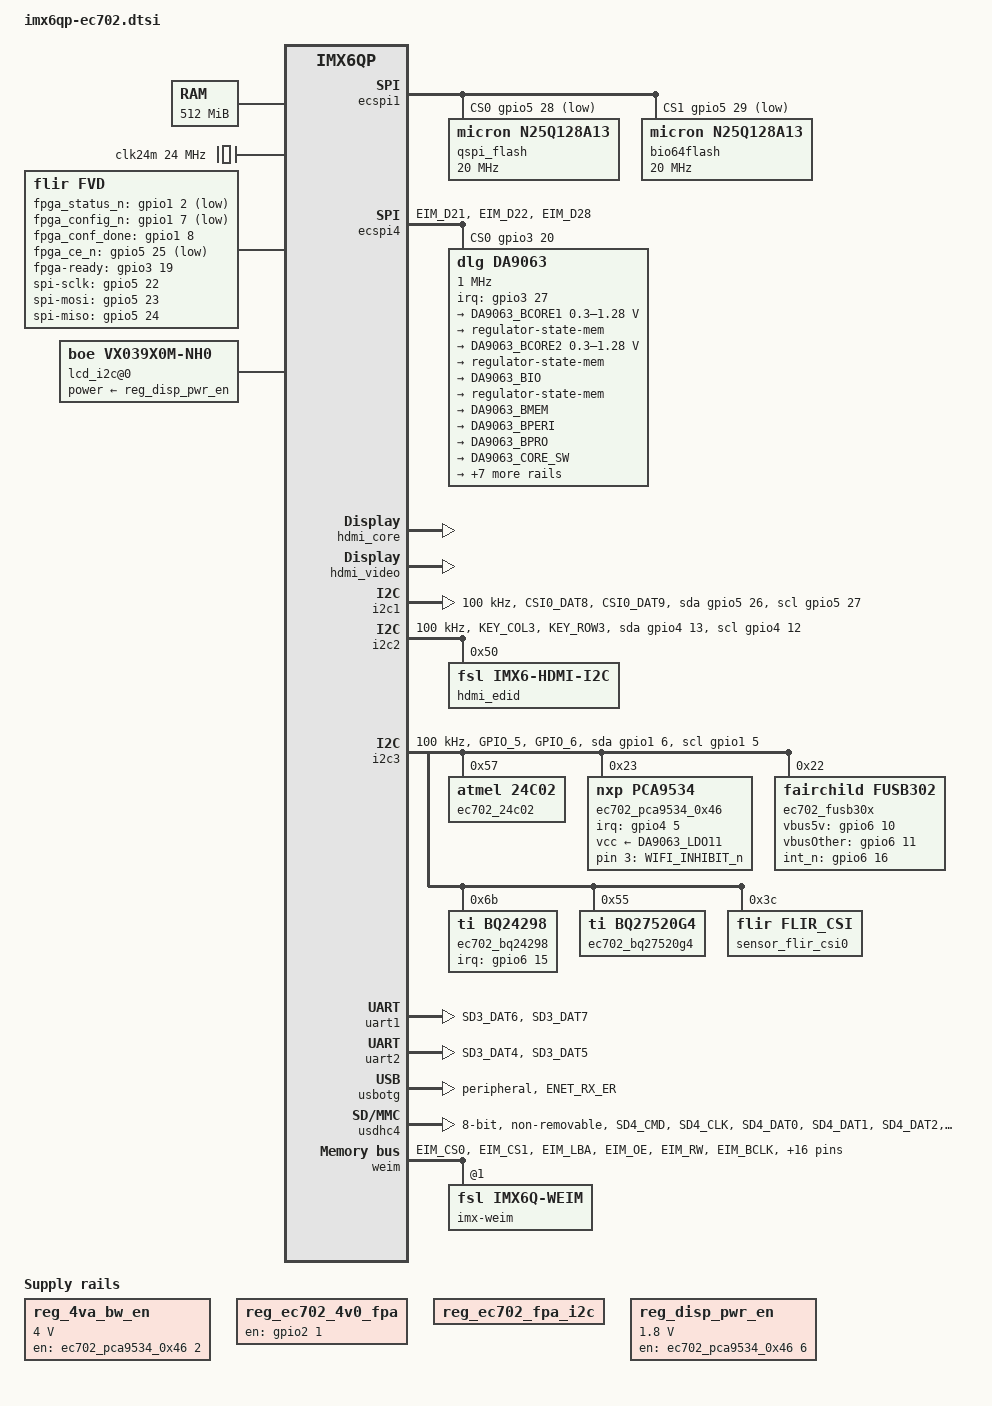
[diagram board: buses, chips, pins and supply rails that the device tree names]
/*
 * Copyright 2024 FLIR Systems.
 *
 * The code contained herein is licensed under the GNU General Public
 * License. You may obtain a copy of the GNU General Public License
 * Version 2 or later at the following locations:
 *
 * http://www.opensource.org/licenses/gpl-license.html
 * http://www.gnu.org/copyleft/gpl.html
 */

#include <dt-bindings/gpio/gpio.h>
#include <dt-bindings/input/input.h>
#include <dt-bindings/interrupt-controller/irq.h>
#include <dt-bindings/regulator/dlg,da9063-regulator.h>
#include "imx6q-pinfunc.h"

/ {
	aliases {
		mxcfb0 = &mxcfb1;
		mxcfb1 = &mxcfb2;

		mmc0 = &usdhc4;
		mmc1 = &usdhc1;
		mmc2 = &usdhc2;
		mmc3 = &usdhc3;
	};

	memory {
		reg = <0x10000000 0x20000000>;
	};

	clocks {
		clk24m: clk24m {
			compatible = "fixed-clock";
			#clock-cells = <0>;
			clock-frequency = <24000000>;
		};
	};

	// Board Info: Filled in by UBoot
	boards {
		mainboard {
			article = <0>;
			rev = <0>;
		};
		plwi {
			article = <0>;
			rev = <0>;
		};
	};

	fad {
		compatible = "flir,fad";
		hasLaser = <0>;
		HasSoftwareControlledLaser = <0>;
		hasGPS = <1>;
		standbyMinutes = <1440>;
	};

	/* Radio switch */
	radio_switch {
		compatible = "gpio-keys";
		radio_on {
			label = "WIFI_INHIBIT_n";
			gpios = <&ec702_pca9534_0x46 3 GPIO_ACTIVE_HIGH>;
			linux,input-type = <EV_SW>;
			linux,code = <SW_RFKILL_ALL>;
		};
	};

	fvd {
		compatible = "flir,fvd";
		pinctrl-names = "default", "spi-default", "spi-idle";
		pinctrl-0 = <&pinctrl_fvd>;
		pinctrl-1 = <&pinctrl_ecspi1>;
		pinctrl-2 = <&pinctrl_ecspi1_idle>;

		fpga_status_n = <&gpio1 2 GPIO_ACTIVE_LOW>;
		fpga_config_n = <&gpio1 7 GPIO_ACTIVE_LOW>;
		fpga_conf_done = <&gpio1 8 GPIO_ACTIVE_HIGH>;
		fpga_ce_n = <&gpio5 25 GPIO_ACTIVE_LOW>;
		fpga-ready-gpio = <&gpio3 19 GPIO_ACTIVE_HIGH>;

		spi-sclk-gpio = <&gpio5 22 GPIO_ACTIVE_HIGH>;
		spi-mosi-gpio = <&gpio5 23 GPIO_ACTIVE_HIGH>;
		spi-miso-gpio = <&gpio5 24 GPIO_ACTIVE_HIGH>;
		spi-cs-gpio = <&gpio5 28 GPIO_ACTIVE_LOW>;

		// The fvdk driver needs to find the SPI device
		// via this phandle to prepare flash during FPGA programming
		spi_fpga_flash = <&qspi_flash>;
		vin-supply = <&DA9063_BMEM>, <&DA9063_BPRO>, <&DA9063_PERI_SW>, <&DA9063_CORE_SW>, <&DA9063_LDO8>;
	};

	regulators {
		compatible = "simple-bus";

		reg_4va_bw_en: reg_4va_bw_en {
			compatible = "regulator-fixed";
			regulator-name = "4VA_BW";
			regulator-min-microvolt = <4000000>;
			regulator-max-microvolt = <4000000>;
			gpio = <&ec702_pca9534_0x46 2 GPIO_ACTIVE_HIGH>;
			regulator-boot-on;
			startup-delay-us = <10000>;
			enable-active-high;
		};

		reg_ec702_4v0_fpa: ec702_4v0_fpa {
			compatible = "regulator-fixed";
			regulator-name = "4V0_fpa";
			gpio = <&gpio2 1 0>;
			enable-active-high;
		};

		/* Required by fvdk driver */
		reg_ec702_fpa_i2c: ec702_fpa_i2c {
			compatible = "regulator-fixed";
			regulator-name = "fpa_i2c";
			enable-active-high;
		};

		/* DISP_PWR_EN */
		reg_disp_pwr_en: reg_disp_pwr_en {
			compatible = "regulator-fixed";
			regulator-name = "1V8D_VF";
			regulator-min-microvolt = <1800000>;
			regulator-max-microvolt = <1800000>;
			gpio = <&ec702_pca9534_0x46 6 GPIO_ACTIVE_HIGH>;
			regulator-boot-on;
			enable-active-high;
		};

	};

	/* Use HDMI port as primary display for now.
	 * Bring back VF display as first fb once it becomes available.
	 */

	mxcfb1: fb@0 {
		compatible = "fsl,mxc_sdc_fb";
		interface_pix_fmt = "RGB24";
		default_bpp = <32>;
		int_clk = <0>;
		late_init = <0>;
		disp_dev = "lcd-i2c";
		mode_str ="BOE-XGA";
		backlight_lcd = <&backlight_lcd>;
		bootlogo = <0x0 0x0>;
		status = "okay";
	};

	mxcfb2: fb@1 {
		compatible = "fsl,mxc_sdc_fb";
		disp_dev = "hdmi";
		interface_pix_fmt = "RGB24";
		mode_str ="1024x768M@60";
		default_bpp = <32>;
		int_clk = <1>;
		late_init = <0>;
		status = "disabled";
	};

	backlight_lcd: backlight_lcd {
		compatible = "dummy-backlight";
		status = "okay";
	};

	v4l2_cap_0 {
		compatible = "fsl,imx6q-v4l2-capture";
		ipu_id = <0>;
		csi_id = <0>;
		videoflow_method = <1>;
		mclk_source = <0>;
		status = "okay";
	};

	v4l2_out {
		compatible = "fsl,mxc_v4l2_output";
		status = "okay";
	};

	// UBoot Info: Filled in by UBoot
	u-boot {
		version = "Unknown";
		reset-cause = "Unknown";
	};

	lcd_i2c@0 {
		compatible = "boe,vx039x0m-nh0";
		ipu_id = <0>;
		disp_id = <0>;
		default_ifmt = "RGB24";
		pinctrl-names = "default", "disabled";
		pinctrl-0 = <&pinctrl_ipu1_di0_enabled>;
		pinctrl-1 = <&pinctrl_ipu1_di0_disabled>;
		i2c_bus = <0x00>;
		i2c_addr = <0x4c>;
		power-supply = <&reg_disp_pwr_en>;
		status = "okay";
	};
};

&ecspi1 {
	// The fvdk driver sets this pinctrl when not
	// programming fpga, thus commented out here
	// pinctrl-names = "default";
	// pinctrl-0 = <&pinctrl_ecspi1>;
	fsl,spi-num-chipselects = <2>;
	cs-gpios = <&gpio5 28 GPIO_ACTIVE_LOW>, <&gpio5 29 GPIO_ACTIVE_LOW>;
	status = "okay";

	qspi_flash: mt25ql128aba@0 {
		compatible = "micron,n25q128a13", "jedec,spi-nor";
		spi-max-frequency = <20000000>;
		reg = <0>;
	};

	/* Detector flash */
	bio64flash: bio64flash@1 {
		compatible = "micron,n25q128a13", "micron,n25q256a", "jedec,spi-nor";
		spi-max-frequency = <20000000>;
		reg = <1>;
	};
};

&ecspi4 {
	pinctrl-names = "default";
	pinctrl-0 = <&pinctrl_ecspi4>;
	fsl,spi-num-chipselects = <1>;
	cs-gpios = <&gpio3 20 0>;
	status = "okay";

	da9063: da9063@0 {
		compatible = "dlg,da9063";
		reg = <0>;
		spi-max-frequency = <1000000>;
		interrupt-parent = <&gpio3>;
		interrupts = <27 2>;
		interrupt-controller;
		#interrupt-cells = <1>;
		pinctrl-names = "default";
		pinctrl-0 = <&pinctrl_da9063>;

		poweroff {
			compatible = "dlg,da9063-poweroff";
			/* Optional gpio-based shutdown used by EOCO*/
			pwroff-gpio = <&gpio2 30 GPIO_ACTIVE_HIGH>;
		};

		rtc {
			compatible = "dlg,da9063-rtc";
			interrupts = <1 2>;
			interrupts-names = "ALARM" , "TIMER";
			interrupt-parent = <&da9063>;
		};

		onkey {
			compatible = "dlg,da9063-onkey";
			interrupts = <0>;
			interrupts-names = "ONKEY";
			interrupt-parent = <&da9063>;
			dlg,key-power;
			gpio-key,wakeup;
			linux,code = <66>;
		};

		hwmon {
			compatible = "dlg,da9063-hwmon";
			interrupts = <3>;
			interrupts-names = "HWMON";
			interrupt-parent = <&da9063>;
			dlg,tjunc-offset = <(-5)>;
		};

		gpio_extender: gpio {
			compatible = "dlg,da9063-gpio";
			gpio-controller;
			#gpio-cells = <2>;
		};

		watchdog {
			compatible = "dlg,da9063-watchdog";
			timeout-sec = <30>;
		};

		charge_wake: charge_wake {
			compatible = "dlg,da9063-wake";
		};

		reset{
			compatible = "dlg,da9063-reset";
		};

		/*
		 * Regulator                Signal      Voltage     Enabled
		 * -------------------------------------------------------------
		 * DA9063_BCORE1:bcore1     VCCARM      1V38        Yes, seq 3
		 * DA9063_BCORE2:bcore2     VCCSOC      1V38        Yes, seq 3
		 * DA9063_BIO:bio           1V8D                    Yes, seq 5
		 * DA9063_BMEM:bmem         2V5D_FPGA               by uboot
		 * DA9063_BPERI:bperi       1V2D                    Yes, seq 4
		 * DA9063_BPRO:bpro         1V1D_FPGA               by uboot
		 * DA9063_CORE_SW:core_sw   1V8D_FPGA               by uboot
		 * DA9063_LDO2:ldo2         NC          1V2         No
		 * DA9063_LDO3_BP:ldo3      Test only   1V8         No
		 * DA9063_LDO4:ldo4         NC          3V15/1V8    Yes, seq 6, disabled in uboot
		 * DA9063_LDO6:ldo6         NC          2V5         No
		 * DA9063_LDO7:ldo7         3V15_GP                 No
		 * DA9063_LDO8:ldo8         3V15D_FPGA              by uboot
		 * DA9063_LDO9:ldo9         VCCSNVS     3V15        Yes, seq 1
		 * DA9063_LDO10:ldo10       NC          2V5D_FPGA   No
		 * DA9063_LDO11:ldo11       3V15D                   Yes, seq 6
		 * DA9063_PERI_SW:peri_sw   1V2D_FPGA               by uboot
		 */

		/* For DA9063 revision AD */
		regulators {
			compatible = "dlg,da9063-regulator";
			interrupts = <8>;
			interrupts-names = "LDO_LIM";
			interrupt-parent = <&da9063>;

			/* VCCARM */
			DA9063_BCORE1:bcore1  {
				regulator-name = "DA9063_BCORE1";
				regulator-boot-on;
				regulator-always-on;
				regulator-min-microvolt = <300000>;
				regulator-max-microvolt = <1280000>;

				/*regulator-initial-mode = <1>;*/
				regulator-initial-mode = <DA9063_BUCK_MODE_SYNC>;
				/* regulator-initial-state = "suspend-mem"; */
				regulator-allowed-modes = <DA9063_BUCK_MODE_SLEEP>, <DA9063_BUCK_MODE_SYNC>;
				regulator-state-mem {
					regulator-mode = <DA9063_BUCK_MODE_SLEEP>;
					regulator-suspend-uv= <950000>;
					regulator-off-in-suspend;
				};
			};

			/* VCCSOC */
			DA9063_BCORE2:bcore2  {
				regulator-name = "DA9063_BCORE2";
				regulator-boot-on;
				regulator-always-on;
				regulator-min-microvolt = <300000>;
				regulator-max-microvolt = <1280000>;

				regulator-initial-mode = <DA9063_BUCK_MODE_SYNC>;
				/* regulator-initial-state = "suspend-mem"; */
				regulator-allowed-modes = <DA9063_BUCK_MODE_SLEEP>, <DA9063_BUCK_MODE_SYNC>;
				regulator-state-mem {
					regulator-mode = <DA9063_BUCK_MODE_SLEEP>;
					regulator-suspend-uv= <950000>;
					regulator-off-in-suspend;
				};
			};

			/* 1V8D */
			DA9063_BIO:bio  {
				regulator-initial-mode = <DA9063_BUCK_MODE_SYNC>;
				regulator-name = "DA9063_BIO";
				regulator-boot-on;
				regulator-always-on;
				regulator-allowed-modes = <DA9063_BUCK_MODE_SLEEP>, <DA9063_BUCK_MODE_SYNC>;
				regulator-state-mem {
					regulator-mode = <DA9063_BUCK_MODE_SLEEP>;
					regulator-off-in-suspend;
				};
			};

			/* 2V5D_FPGA */
			DA9063_BMEM:bmem  {
				regulator-initial-mode = <DA9063_BUCK_MODE_SYNC>;
				regulator-name = "DA9063_BMEM";
				regulator-boot-on;
				regulator-allowed-modes = <DA9063_BUCK_MODE_SLEEP>, <DA9063_BUCK_MODE_SYNC>;
				/* Suspend handled by FVDK */
			};

			/* 1V2D */
			DA9063_BPERI:bperi  {
				regulator-initial-mode = <DA9063_BUCK_MODE_SYNC>;
				regulator-name = "DA9063_BPERI";
				regulator-boot-on;
				regulator-always-on;
				regulator-allowed-modes = <DA9063_BUCK_MODE_SLEEP>, <DA9063_BUCK_MODE_SYNC>;
			};

			/* 1V1D_FPGA */
			DA9063_BPRO:bpro  {
				regulator-initial-mode = <DA9063_BUCK_MODE_SYNC>;
				regulator-name = "DA9063_BPRO";
				regulator-boot-on;
				regulator-allowed-modes = <DA9063_BUCK_MODE_SLEEP>, <DA9063_BUCK_MODE_SYNC>;
				/* Suspend handled by FVDK */
			};

			/* 1V8D_FPGA */
			DA9063_CORE_SW:core-sw  {
				regulator-name = "DA9063_CORE_SW";
				regulator-boot-on;
				/* Suspend handled by FVDK */
			};

			/* LDO3: 1V8 test point */
			DA9063_LDO3_BP:ldo3  {
				regulator-name = "DA9063_LDO3_BP";
				regulator-state-mem {
					regulator-off-in-suspend;
				};
			};

			/* 3V15_GP */
			DA9063_LDO7:ldo7  {
				regulator-name = "DA9063_LDO7";
			};

			/* 3V15D_FPGA */
			DA9063_LDO8:ldo8  {
				regulator-name = "DA9063_LDO8";
				regulator-boot-on;
			};

			/* VCCSNVS */
			DA9063_LDO9:ldo9  {
				regulator-name = "DA9063_LDO9";
				regulator-boot-on;
				regulator-always-on;
			};

			/* 3V15D */
			DA9063_LDO11:ldo11  {
				regulator-name = "DA9063_LDO11";
				regulator-boot-on;
				regulator-always-on;
			};

			/* 1V2D_FPGA */
			DA9063_PERI_SW:peri-sw  {
				regulator-name = "DA9063_PERI_SW";
				regulator-boot-on;
				/* Suspend handled by FVDK */
			};

			DA9063_32K_OUT:out_32k  {
				regulator-name = "DA9063_32K_OUT";
			};
		};
	};
};

&wdog1 {
	/* Disable internal watchdog in favor of da9063-wdt */
	status = "disable";
};

&hdmi_core {
	ipu_id = <0>;
	disp_id = <1>;
	status = "okay";
};

&hdmi_video {
	// phy_reg_vlev and _cksymtx are optional
	//fsl,phy_reg_vlev = <0x294>;
	//fsl,phy_reg_cksymtx = <0x800d>;
	//HDMI-supply = <&reg_hdmi>;
	status = "okay";
};

&i2c1 {
	clock-frequency = <100000>;
	pinctrl-names = "default", "gpio";
	pinctrl-0 = <&pinctrl_i2c1>;
	pinctrl-1 = <&pinctrl_i2c1_gpio>;
	scl-gpios = <&gpio5 27 GPIO_ACTIVE_HIGH>;
	sda-gpios = <&gpio5 26 GPIO_ACTIVE_HIGH>;
	status = "okay";
};

&i2c2 {
	clock-frequency = <100000>;
	pinctrl-names = "default", "gpio";
	pinctrl-0 = <&pinctrl_i2c2>;
	pinctrl-1 = <&pinctrl_i2c2_gpio>;
	scl-gpios = <&gpio4 12 GPIO_ACTIVE_HIGH>;
	sda-gpios = <&gpio4 13 GPIO_ACTIVE_HIGH>;
	status = "okay";

	hdmi_edid: edid@50 {
		compatible = "fsl,imx6-hdmi-i2c";
		reg = <0x50>;
	};
};

&i2c3 {
	clock-frequency = <100000>;
	pinctrl-names = "default", "gpio";
	pinctrl-0 = <&pinctrl_i2c3>;
	pinctrl-1 = <&pinctrl_i2c3_gpio>;
	scl-gpios = <&gpio1 5 GPIO_ACTIVE_HIGH>;
	sda-gpios = <&gpio1 6 GPIO_ACTIVE_HIGH>;
	status = "okay";

	/* ID EEPROM */
	ec702_24c02: ec702_24c02_0xae@57 {
		compatible = "atmel,24c02";
		reg = <0x57>;
		pagesize = <16>;
	};

	/* Power ctrl I/O expander */
	ec702_pca9534_0x46: ec702_pca9534_0x46@23 {
		compatible = "nxp,pca9534";
		reg = <0x23>;
		gpio-controller;
		vcc-supply = <&DA9063_LDO11>;
		/* Int: I2C3_ALERT_n, GPIO4.5 */
		interrupt-parent = <&gpio4>;
		interrupts = <5 IRQ_TYPE_EDGE_FALLING>;
		interrupt-controller;
		interrupts-shared;
		#interrupt-cells = <2>;
		#gpio-cells = <2>;
		status = "okay";
	};

	ec702_acc_kxtj3: ec702_acc_kxtj3_0x1c@e {
		compatible = "kionix,kxtj3";
		reg = <0x0e>;
		// TODO Remap axes for appcore
		axis-map-x = <2>;
		axis-map-y = <1>;
		axis-map-z = <0>;
		negate-x;
		is-sensor-accel;
		status = "disabled";
	};

	/* Power delivery controller */
	ec702_fusb30x: ec702_fusb30x_0x44@22 {
		compatible = "fairchild,fusb302";
		reg = <0x22>;
		status = "okay";
		fairchild,vbus5v	= <&gpio6 10 0>;  //FIXME: Unused IO pin
		fairchild,vbusOther	= <&gpio6 11 0>;  //FIXME: Unused IO pin
		fairchild,int_n         = <&gpio6 16 0>;
		//usbmux-gpio-pol         = <&ec702_pca9534_0x46 2 GPIO_ACTIVE_HIGH>;
		//usbmux-gpio-amsel       = <&ec702_pca9534_0x46 3 GPIO_ACTIVE_HIGH>;
		//usbmux-gpio-en          = <&ec702_pca9534_0x46 4 GPIO_ACTIVE_HIGH>;
	};

	/* Battery charger */
	ec702_bq24298: ec702_bq24298_0xd6@6b {
		compatible = "ti,bq24298";
		reg = <0x6b>;
		interrupt-parent = <&gpio6>;
		interrupts = <15 2>;
                //ti,usb-charger-detection = <&usbotg>;
		status = "okay";
	};

	/* Battery fuel gauge */
	ec702_bq27520g4: ec702_bq27520g4_0xaa@55 {
		compatible = "ti,bq27520g4";
		reg = <0x55>;
	};

	/* ID EEPROM on detector board */
	bio64_24c02: bio64_24c02_0xa0@50 {
		compatible = "atmel,24c02";
		reg = <0x50>;
		pagesize = <16>;
		status = "disabled";
	};

	/* FPGA CSI0 */
	sensor_flir_csi0: csi0@3c {
		compatible = "flir,flir_csi";
		reg = <0x3c>;
		pinctrl-names = "default";
		pinctrl-0 = <&pinctrl_ipu1_csi0>;
		clocks = <&clks 201>;
		clock-names = "csi_mclk";
		ipu_id = <0>;
		csi_id = <0>;
		mclk = <24000000>;
		mclk_source = <0>;
		capturemode = <0>;
		format = "RGB4";
		status = "okay";
	};
};

&iomuxc {
	pinctrl_da9063: da9063grp {
		fsl,pins = <
			MX6QDL_PAD_EIM_D27__GPIO3_IO27 0x1b0b0
		>;
	};

	pinctrl_ecspi1: ecspi1grp {
		fsl,pins = <
			MX6QDL_PAD_CSI0_DAT4__ECSPI1_SCLK 0x100b1
			MX6QDL_PAD_CSI0_DAT5__ECSPI1_MOSI 0x100b1
			MX6QDL_PAD_CSI0_DAT6__ECSPI1_MISO 0x100b1
		>;
	};

	pinctrl_ecspi1_idle: ecspi1grp-idle {
		fsl,pins = <
			MX6QDL_PAD_CSI0_DAT4__GPIO5_IO22	0x100b1
			MX6QDL_PAD_CSI0_DAT5__GPIO5_IO23	0x100b1
			MX6QDL_PAD_CSI0_DAT6__GPIO5_IO24	0x100b1
		>;
	};

	pinctrl_ecspi4: ecspi4grp {
		fsl,pins = <
			MX6QDL_PAD_EIM_D21__ECSPI4_SCLK 0x100b1
			MX6QDL_PAD_EIM_D22__ECSPI4_MISO 0x100b1
			MX6QDL_PAD_EIM_D28__ECSPI4_MOSI 0x100b1
		>;
	};

	pinctrl_fvd: fvdgrp {
		fsl,pins = <
			MX6QDL_PAD_EIM_D16__GPIO3_IO16	0x10010
			MX6QDL_PAD_EIM_D17__GPIO3_IO17	0x10010
			MX6QDL_PAD_EIM_D18__GPIO3_IO18	0x10010
			MX6QDL_PAD_EIM_D19__GPIO3_IO19	0x10010
		>;
	};

	pinctrl_i2c1: i2c1grp {
		fsl,pins = <
			MX6QDL_PAD_CSI0_DAT8__I2C1_SDA  0x4001b8b1
			MX6QDL_PAD_CSI0_DAT9__I2C1_SCL  0x4001b8b1
		>;
	};

	pinctrl_i2c1_gpio: i2c1gpiogrp {
		fsl,pins = <
			MX6QDL_PAD_CSI0_DAT8__GPIO5_IO26 0x4001b8b1
			MX6QDL_PAD_CSI0_DAT9__GPIO5_IO27 0x4001b8b1
		>;
	};

	pinctrl_i2c2: i2c2grp {
		fsl,pins = <
			MX6QDL_PAD_KEY_COL3__I2C2_SCL  0x4001b8b1
			MX6QDL_PAD_KEY_ROW3__I2C2_SDA  0x4001b8b1
		>;
	};

	pinctrl_i2c2_gpio: i2c2gpiogrp {
		fsl,pins = <
			MX6QDL_PAD_KEY_COL3__GPIO4_IO12 0x4001b8b1
			MX6QDL_PAD_KEY_ROW3__GPIO4_IO13 0x4001b8b1
		>;
	};

	pinctrl_i2c3: i2c3grp {
		fsl,pins = <
			MX6QDL_PAD_GPIO_5__I2C3_SCL  0x4001b8b1
			MX6QDL_PAD_GPIO_6__I2C3_SDA  0x4001b8b1
		>;
	};

	pinctrl_i2c3_gpio: i2c3gpiogrp {
		fsl,pins = <
			MX6QDL_PAD_GPIO_5__GPIO1_IO05 0x4001b8b1
			MX6QDL_PAD_GPIO_6__GPIO1_IO06 0x4001b8b1
			MX6QDL_PAD_GPIO_19__GPIO4_IO05	0x00009030 // TODO
		>;
	};

	pinctrl_ipu1_csi0: ipu1csi0grp {
		fsl,pins = <
			MX6QDL_PAD_CSI0_DAT12__IPU1_CSI0_DATA12		0x80000000
			MX6QDL_PAD_CSI0_DAT13__IPU1_CSI0_DATA13		0x80000000
			MX6QDL_PAD_CSI0_DAT14__IPU1_CSI0_DATA14		0x80000000
			MX6QDL_PAD_CSI0_DAT15__IPU1_CSI0_DATA15		0x80000000
			MX6QDL_PAD_CSI0_DAT16__IPU1_CSI0_DATA16		0x80000000
			MX6QDL_PAD_CSI0_DAT17__IPU1_CSI0_DATA17		0x80000000
			MX6QDL_PAD_CSI0_DAT18__IPU1_CSI0_DATA18		0x80000000
			MX6QDL_PAD_CSI0_DAT19__IPU1_CSI0_DATA19		0x80000000
			MX6QDL_PAD_CSI0_PIXCLK__IPU1_CSI0_PIXCLK	0x0000a0b0
			MX6QDL_PAD_CSI0_MCLK__IPU1_CSI0_HSYNC		0x80000000
			MX6QDL_PAD_CSI0_VSYNC__IPU1_CSI0_VSYNC		0x80000000
			MX6QDL_PAD_CSI0_DATA_EN__IPU1_CSI0_DATA_EN	0x80000000
			>;
	};

	pinctrl_ipu1_di0_enabled: ipu1di0_enabled_grp {
		fsl,pins = <
			MX6QDL_PAD_DI0_DISP_CLK__IPU1_DI0_DISP_CLK	0xA8
			MX6QDL_PAD_DI0_PIN2__IPU1_DI0_PIN02		0xA8
			MX6QDL_PAD_DI0_PIN3__IPU1_DI0_PIN03		0xA8
			//MX6QDL_PAD_DI0_PIN4__IPU1_DI0_PIN04		0x80000000
			//MX6QDL_PAD_DI0_PIN15__IPU1_DI0_PIN15		0xA8
			MX6QDL_PAD_DISP0_DAT0__IPU1_DISP0_DATA00	0xA8
			MX6QDL_PAD_DISP0_DAT1__IPU1_DISP0_DATA01	0xA8
			MX6QDL_PAD_DISP0_DAT2__IPU1_DISP0_DATA02	0xA8
			MX6QDL_PAD_DISP0_DAT3__IPU1_DISP0_DATA03	0xA8
			MX6QDL_PAD_DISP0_DAT4__IPU1_DISP0_DATA04	0xA8
			MX6QDL_PAD_DISP0_DAT5__IPU1_DISP0_DATA05	0xA8
			MX6QDL_PAD_DISP0_DAT6__IPU1_DISP0_DATA06	0xA8
			MX6QDL_PAD_DISP0_DAT7__IPU1_DISP0_DATA07	0xA8
			MX6QDL_PAD_DISP0_DAT8__IPU1_DISP0_DATA08	0xA8
			MX6QDL_PAD_DISP0_DAT9__IPU1_DISP0_DATA09	0xA8
			MX6QDL_PAD_DISP0_DAT10__IPU1_DISP0_DATA10	0xA8
			MX6QDL_PAD_DISP0_DAT11__IPU1_DISP0_DATA11	0xA8
			MX6QDL_PAD_DISP0_DAT12__IPU1_DISP0_DATA12	0xA8
			MX6QDL_PAD_DISP0_DAT13__IPU1_DISP0_DATA13	0xA8
			MX6QDL_PAD_DISP0_DAT14__IPU1_DISP0_DATA14	0xA8
			MX6QDL_PAD_DISP0_DAT15__IPU1_DISP0_DATA15	0xA8
			MX6QDL_PAD_DISP0_DAT16__IPU1_DISP0_DATA16	0xA8
			MX6QDL_PAD_DISP0_DAT17__IPU1_DISP0_DATA17	0xA8
			MX6QDL_PAD_DISP0_DAT18__IPU1_DISP0_DATA18	0xA8
			MX6QDL_PAD_DISP0_DAT19__IPU1_DISP0_DATA19	0xA8
			MX6QDL_PAD_DISP0_DAT20__IPU1_DISP0_DATA20	0xA8
			MX6QDL_PAD_DISP0_DAT21__IPU1_DISP0_DATA21	0xA8
			MX6QDL_PAD_DISP0_DAT22__IPU1_DISP0_DATA22	0xA8
			MX6QDL_PAD_DISP0_DAT23__IPU1_DISP0_DATA23	0xA8
		>;
	};
	pinctrl_ipu1_di0_disabled: ipu1di0_disabled_grp {
		fsl,pins = <
		/*
		 * Reserved [15 bit]
		 * HYS [1 bit] = 0, Disabled, CMOS input
		 * PUS [2 bit] = 00, 100K PD
		 * PUE [1 bit] = 0, Keeper Enabled
		 * PKE [1 bit] 0, Disabled, Pull/Keeper disabled
		 * ODE [1 bit] = 0, Disabled, Output is CMOS
		 * Reserved [3 bit]
		 * Speed [2 bit] = 00 = Slow
		 * DSE [3 bit] = 000 = Hi Z
		 * Reserved [2 bit]
		 * SRE [1 bit] = 0 Slow Slew Rate
		 */
			MX6QDL_PAD_DI0_DISP_CLK__GPIO4_IO16	0x0
			MX6QDL_PAD_DI0_PIN2__GPIO4_IO18		0x0
			MX6QDL_PAD_DI0_PIN3__GPIO4_IO19		0x0
			MX6QDL_PAD_DISP0_DAT0__GPIO4_IO21	0x0
			MX6QDL_PAD_DISP0_DAT1__GPIO4_IO22	0x0
			MX6QDL_PAD_DISP0_DAT2__GPIO4_IO23	0x0
			MX6QDL_PAD_DISP0_DAT3__GPIO4_IO24	0x0
			MX6QDL_PAD_DISP0_DAT4__GPIO4_IO25	0x0
			MX6QDL_PAD_DISP0_DAT5__GPIO4_IO26	0x0
			MX6QDL_PAD_DISP0_DAT6__GPIO4_IO27	0x0
			MX6QDL_PAD_DISP0_DAT7__GPIO4_IO28	0x0
			MX6QDL_PAD_DISP0_DAT8__GPIO4_IO29	0x0
			MX6QDL_PAD_DISP0_DAT9__GPIO4_IO30	0x0
			MX6QDL_PAD_DISP0_DAT10__GPIO4_IO31	0x0
			MX6QDL_PAD_DISP0_DAT11__GPIO5_IO05	0x0
			MX6QDL_PAD_DISP0_DAT12__GPIO5_IO06	0x0
			MX6QDL_PAD_DISP0_DAT13__GPIO5_IO07	0x0
			MX6QDL_PAD_DISP0_DAT14__GPIO5_IO08	0x0
			MX6QDL_PAD_DISP0_DAT15__GPIO5_IO09	0x0
			MX6QDL_PAD_DISP0_DAT16__GPIO5_IO10	0x0
			MX6QDL_PAD_DISP0_DAT17__GPIO5_IO11	0x0
			MX6QDL_PAD_DISP0_DAT18__GPIO5_IO12	0x0
			MX6QDL_PAD_DISP0_DAT19__GPIO5_IO13	0x0
			MX6QDL_PAD_DISP0_DAT20__GPIO5_IO14	0x0
			MX6QDL_PAD_DISP0_DAT21__GPIO5_IO15	0x0
			MX6QDL_PAD_DISP0_DAT22__GPIO5_IO16	0x0
			MX6QDL_PAD_DISP0_DAT23__GPIO5_IO17	0x0
		>;
	};

	pinctrl_uart1: uart1grp {
		fsl,pins = <
			MX6QDL_PAD_SD3_DAT6__UART1_RX_DATA	0x1b0b1
			MX6QDL_PAD_SD3_DAT7__UART1_TX_DATA	0x1b0b1
		>;
	};

	pinctrl_uart2: uart2grp {
		fsl,pins = <
			MX6QDL_PAD_SD3_DAT4__UART2_RX_DATA	0x1b0b1
			MX6QDL_PAD_SD3_DAT5__UART2_TX_DATA	0x1b0b1
		>;
	};

	pinctrl_usbotg: usbotggrp {
		fsl,pins = <
			MX6QDL_PAD_ENET_RX_ER__USB_OTG_ID	0x17059
		>;
	};

	pinctrl_usdhc4: usdhc4grp {
		fsl,pins = <
			MX6QDL_PAD_SD4_CMD__SD4_CMD	0x170B9
			MX6QDL_PAD_SD4_CLK__SD4_CLK	0x100B9
			MX6QDL_PAD_SD4_DAT0__SD4_DATA0	0x170B9
			MX6QDL_PAD_SD4_DAT1__SD4_DATA1	0x170B9
			MX6QDL_PAD_SD4_DAT2__SD4_DATA2	0x170B9
			MX6QDL_PAD_SD4_DAT3__SD4_DATA3	0x170B9
			MX6QDL_PAD_SD4_DAT4__SD4_DATA4	0x170B9
			MX6QDL_PAD_SD4_DAT5__SD4_DATA5	0x170B9
			MX6QDL_PAD_SD4_DAT6__SD4_DATA6	0x170B9
			MX6QDL_PAD_SD4_DAT7__SD4_DATA7	0x170B9
		>;
	};

	pinctrl_weim_fpga: weimfpgagrp {
		fsl,pins = <
			MX6QDL_PAD_EIM_CS0__EIM_CS0_B		0xb0b1
			MX6QDL_PAD_EIM_CS1__EIM_CS1_B		0xb0b1
			MX6QDL_PAD_EIM_LBA__EIM_LBA_B		0xb0b1
			MX6QDL_PAD_EIM_OE__EIM_OE_B			0xb0b1
			MX6QDL_PAD_EIM_RW__EIM_RW			0xb0b1
			MX6QDL_PAD_EIM_BCLK__EIM_BCLK		0xb0b1

			MX6QDL_PAD_EIM_DA15__EIM_AD15		0xb0b1
			MX6QDL_PAD_EIM_DA14__EIM_AD14		0xb0b1
			MX6QDL_PAD_EIM_DA13__EIM_AD13		0xb0b1
			MX6QDL_PAD_EIM_DA12__EIM_AD12		0xb0b1
			MX6QDL_PAD_EIM_DA11__EIM_AD11		0xb0b1
			MX6QDL_PAD_EIM_DA10__EIM_AD10		0xb0b1
			MX6QDL_PAD_EIM_DA9__EIM_AD09		0xb0b1
			MX6QDL_PAD_EIM_DA8__EIM_AD08		0xb0b1
			MX6QDL_PAD_EIM_DA7__EIM_AD07		0xb0b1
			MX6QDL_PAD_EIM_DA6__EIM_AD06		0xb0b1
			MX6QDL_PAD_EIM_DA5__EIM_AD05		0xb0b1
			MX6QDL_PAD_EIM_DA4__EIM_AD04		0xb0b1
			MX6QDL_PAD_EIM_DA3__EIM_AD03		0xb0b1
			MX6QDL_PAD_EIM_DA2__EIM_AD02		0xb0b1
			MX6QDL_PAD_EIM_DA1__EIM_AD01		0xb0b1
			MX6QDL_PAD_EIM_DA0__EIM_AD00		0xb0b1
		>;
	};
};

&ipu1 {
	bypass_reset = <1>;
	// IOMUX_GPR6: ID0 = F (real time), ID1 = 4 (high prio), ID2 = 2 (normal prio)
	axi-id = <&gpr 0x18 0x024F024F>;
};

&ipu2 {
	bypass_reset = <1>;
	// IOMUX_GPR7: ID0 = 4 (high prio)
	axi-id = <&gpr 0x1C 0x00040004>;
};

&cpu0{
	arm-supply = <&DA9063_BCORE1>;
	soc-supply = <&DA9063_BCORE2>;
	operating-points = <
		/* kHz	 uV */
		996000 1280000
		768000 1180000
		420000 1150000
	>;
	fsl,soc-operating-points = <
		/* ARM kHz SOC-PU uV */
		996000 1200000
		768000 1200000
		420000 1200000
	>;
};

&cpu1{
	arm-supply = <&DA9063_BCORE1>;
	soc-supply = <&DA9063_BCORE2>;
	operating-points = <
		/* kHz	 uV */
		996000 1280000
		768000 1180000
		420000 1150000
	>;
	fsl,soc-operating-points = <
		/* ARM kHz SOC-PU uV */
		996000 1200000
		768000 1200000
		420000 1200000
	>;
};


// OCRAM usage improvements
&vpu {
	iramsize = <0x10000>;
};

&sdma {
	iram = <&ocram>;
};

&uart1 {
	pinctrl-names = "default";
	pinctrl-0 = <&pinctrl_uart1>;
	status = "okay";
};

&uart2 {
	pinctrl-names = "default";
	pinctrl-0 = <&pinctrl_uart2>;
	status = "okay";
};

/* USB */
&usbotg {
	pinctrl-names = "default";
	pinctrl-0 = <&pinctrl_usbotg>;
	disable-over-current;
	imx6-usb-charger-detection;
	fsl,anatop = <&anatop>;
//	dr_mode = "host";
	dr_mode = "peripheral";
//	dr_mode = "otg";
	status = "okay";
};

/* eMMC */
&usdhc4 {
	pinctrl-names = "default";
	pinctrl-0 = <&pinctrl_usdhc4>;
	bus-width = <8>;
	non-removable;
	no-1-8-v;
	status = "okay";
};

&weim {
	pinctrl-names = "default";
	pinctrl-0 = <&pinctrl_weim_fpga>;
	/* CS 0 Physical_address Size */
	ranges = <0 0 0x08000000 0x02000000
		  1 0 0x0A000000 0x02000000
		  2 0 0x0C000000 0x02000000
		  3 0 0x0E000000 0x02000000>;
	/* Burst Clock Mode (BCM) */
	/* Ironically, BCM means "run bclk whenever axiclk is running", */
	/* which is basically a continuous clock. */
	fsl,burst-clk-enable;
	/* BCLK is EIM clock (99MHz), divided by 2 */
	fsl,burst-clk-div = <2>;
	status = "okay";

	imx-weim@1,0 {
		compatible = "fsl,imx6q-weim";
		reg = <1 0 0x02000000>;
		#address-cells = <1>;
		#size-cells = <1>;
		#bank-width = <2>;
		/* Set CS1 to synced muxed mode */
		/* Note: CS Burst Clock settings are overridden by BCM */
		fsl,weim-cs-timing = <0x1221a0bf 0x00000000
				      0x06031100 0x00000000
				      0x450c0000 0x00000000>;

	};
};
